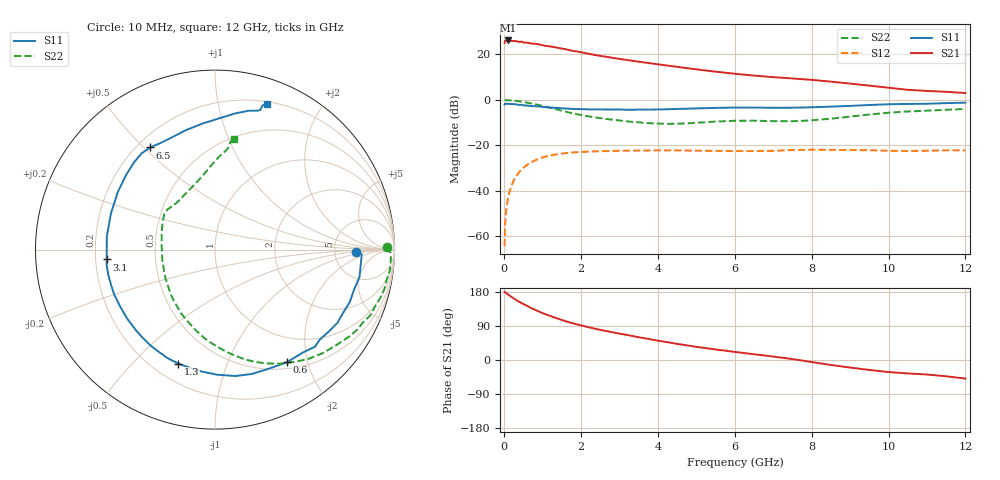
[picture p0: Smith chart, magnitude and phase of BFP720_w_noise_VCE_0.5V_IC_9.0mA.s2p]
! Infineon Technologies  Discrete & RF Semiconductors
! BFP720
! VCE =  0.5 V,  IC =  9.0 mA
! Common Emitter S-Parameters:  Aug 2012
# GHz  S  MA  R  50
!  f  S11  S21  S12  S22
! GHz  MAG  ANG  MAG  ANG  MAG  ANG  MAG  ANG
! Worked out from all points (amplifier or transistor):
!   105 points, 10 MHz to 12 GHz, reference 50 ohm
!   highest |S21| = 26.1 dB at 100 MHz (marker M1)
!   |S21| within 3 dB of that: start of sweep to 1.323 GHz
!   unconditionally stable (mu >= 1): start of sweep to 13.56 MHz; 5.698 GHz to end of sweep
!   at 300 MHz: K = 0.06, MSG = 29.9 dB, |S12| = -33.9 dB
!   at 3.6 GHz: K = 0.68, MSG = 19.4 dB, |S12| = -22.3 dB
!   at 12 GHz: K = 1.07, MAG = 11.0 dB, |S12| = -22.3 dB
!   lowest NFmin = 0.50 dB at 450 MHz
!   S11 on the Smith chart (normalised r, x): 10 MHz: 8.30, -0.48; 600 MHz: 0.59, -1.67; 1.3 GHz: 0.30, -0.69; 3.1 GHz: 0.25, -0.04; 6.5 GHz: 0.25, +0.52; 12 GHz: 0.22, +1.40
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0.01  0.7855 -0.8  17.86 179.5  0.0006 -12.8  0.9578 0.9
0.02  0.818 -1.9  19.66 179.0  0.0015 88.5  0.9789 -1.1
0.1  0.8192 -10.8  20.2 172.9  0.0067 83.4  0.9811 -6.6
0.3  0.7948 -30.9  19.64 159.0  0.0202 74.5  0.9455 -19.8
0.4  0.7697 -40.7  18.79 153.2  0.0263 70.0  0.9189 -26.2
0.45  0.7765 -44.2  19.13 150.1  0.029 67.9  0.9111 -29.0
0.5  0.7536 -49.6  18.22 147.6  0.0318 65.9  0.8955 -32.2
0.6  0.745 -57.5  18.08 142.5  0.0373 61.4  0.8612 -38.1
0.9  0.7136 -80.8  16.61 128.2  0.0503 50.1  0.7664 -54.8
1  0.6972 -89.0  15.8 123.6  0.0539 46.4  0.7308 -60.4
1.3  0.6675 -107.8  14.42 112.3  0.0618 37.3  0.633 -74.9
1.7  0.635 -129.7  12.34 99.2  0.0682 27.6  0.5213 -92.2
2.1  0.6181 -145.4  10.68 88.9  0.0716 20.5  0.4452 -106.7
2.6  0.6117 -161.2  8.966 77.5  0.0742 13.8  0.3838 -122.8
3.1  0.6061 -174.8  7.716 67.8  0.0756 8.5  0.3421 -137.6
4.1  0.615 158.5  5.878 49.4  0.077 -0.2  0.2978 -170.5
5  0.6469 139.9  4.672 34.6  0.076 -6.5  0.3126 161.7
6.1  0.6738 126.3  3.671 20.1  0.0743 -11.0  0.3453 143.6
6.5  0.674 122.4  3.407 15.1  0.0742 -11.9  0.3463 139.5
8.5  0.7065 95.4  2.505 -13.1  0.079 -22.1  0.3834 106.5
10.5  0.8093 73.0  1.66 -35.4  0.0745 -29.9  0.5527 83.9
12  0.8645 70.3  1.406 -49.0  0.0769 -35.7  0.6273 80.5
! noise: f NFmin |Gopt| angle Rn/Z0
0.45  0.5  0.31  1  0.2
1.8  0.56  0.29  20  0.12
2.4  0.62  0.24  42  0.27
5.5  0.76  0.12  33  0.15
10  0.95  0.4  -81  0.22
